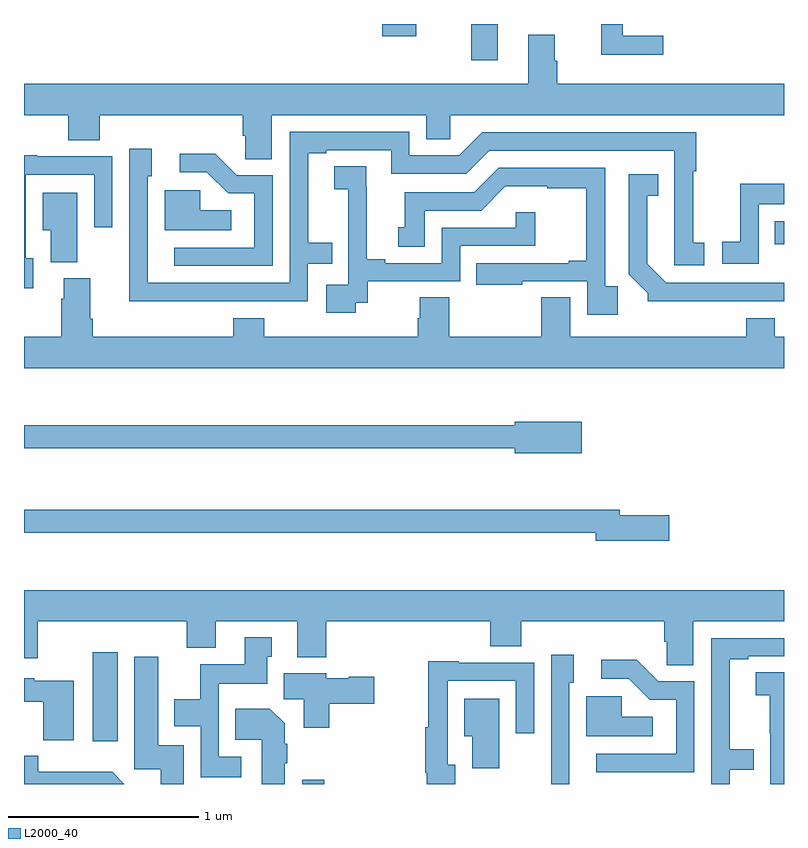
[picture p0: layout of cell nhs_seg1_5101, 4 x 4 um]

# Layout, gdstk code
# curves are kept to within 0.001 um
import gdstk
lib = gdstk.Library(unit=1e-6, precision=1e-09)
def R(c, l, rs):  # rectangles x0, y0, x1, y1
    for r in rs: c.add(gdstk.rectangle(r[:2], r[2:], *l))
def P(c, l, *ps):  # polygons
    for p in ps: c.add(gdstk.Polygon(p, *l))
L2000_40 = (2000, 40)

nhs_seg1_5101 = lib.new_cell('nhs_seg1_5101')
R(nhs_seg1_5101, L2000_40, [(388.464,560.199,388.58,560.221), (387.362,560.424,387.493,560.893), (390.952,563.039,391,563.161), (389.353,564.009,389.494,564.199), (388.886,564.135,389.064,564.199)])
P(nhs_seg1_5101, L2000_40, [(390.364,564.136),(390.151,564.136),(390.151,564.199),(390.039,564.199),(390.039,564.038),(390.364,564.038)],
  [(388.303,563.72),(389.117,563.72),(389.117,563.593),(389.244,563.593),(389.244,563.72),(391,563.72),(391,563.884),(389.807,563.884),(389.807,564.005),(389.794,564.005),(389.794,564.142),(389.654,564.142),(389.654,563.884),(387,563.884),(387,563.72),(387.233,563.72),(387.233,563.587),(387.398,563.587),(387.398,563.72),(388.151,563.72),(388.151,563.611),(388.164,563.611),(388.164,563.488),(388.303,563.488)],
  [(388.016,562.74),(388.494,562.74),(388.494,562.938),(388.622,562.938),(388.622,563.047),(388.495,563.047),(388.495,563.52),(388.591,563.52),(388.591,563.535),(388.932,563.535),(388.932,563.412),(389.328,563.412),(389.448,563.532),(390.423,563.532),(390.422,562.929),(390.58,562.929),(390.58,563.049),(390.522,563.049),(390.522,563.425),(390.539,563.425),(390.539,563.628),(389.412,563.628),(389.292,563.508),(389.028,563.508),(389.028,563.631),(388.398,563.631),(388.398,562.836),(387.651,562.836),(387.651,563.397),(387.673,563.397),(387.673,563.542),(387.555,563.542),(387.554,562.739)],
  [(388.308,563.403),(388.119,563.403),(388.006,563.516),(387.819,563.516),(387.819,563.418),(387.963,563.418),(388.074,563.307),(388.212,563.307),(388.212,563.022),(387.792,563.022),(387.792,562.926),(388.308,562.926)],
  [(387.049,562.965),(387.009,562.965),(387.009,563.406),(387.369,563.406),(387.369,563.13),(387.465,563.13),(387.465,563.502),(387.069,563.502),(387.069,563.509),(387,563.509),(387,562.809),(387.049,562.809)],
  [(388.746,562.731),(388.808,562.731),(388.808,562.845),(389.295,562.845),(389.295,563.031),(389.69,563.031),(389.69,563.209),(389.589,563.209),(389.589,563.127),(389.199,563.127),(389.199,562.941),(388.9,562.941),(388.9,562.961),(388.804,562.961),(388.804,563.339),(388.802,563.339),(388.802,563.45),(388.632,563.45),(388.632,563.329),(388.706,563.329),(388.706,563.131),(388.707,563.131),(388.707,562.827),(388.59,562.827),(388.59,562.68),(388.746,562.68)],
  [(390.125,562.819),(390.06,562.819),(390.06,563.442),(389.499,563.442),(389.37,563.313),(389.003,563.313),(389.003,563.13),(388.97,563.13),(388.97,563.026),(389.11,563.026),(389.11,563.217),(389.406,563.217),(389.534,563.345),(389.753,563.345),(389.753,563.334),(389.959,563.334),(389.959,562.954),(389.867,562.954),(389.867,562.941),(389.38,562.941),(389.38,562.826),(389.623,562.826),(389.623,562.845),(389.964,562.845),(389.964,562.668),(390.125,562.668)],
  [(390.716,562.74),(391,562.74),(391,562.836),(390.381,562.836),(390.28,562.937),(390.28,563.294),(390.338,563.294),(390.338,563.407),(390.183,563.407),(390.183,562.882),(390.282,562.783),(390.282,562.739)],
  [(390.867,563.25),(391,563.25),(391,563.359),(390.769,563.359),(390.769,563.054),(390.675,563.054),(390.675,562.938),(390.867,562.938)],
  [(388.09,563.218),(387.927,563.218),(387.927,563.325),(387.74,563.325),(387.74,563.114),(388.09,563.114)],
  [(387.28,563.311),(387.098,563.311),(387.098,563.114),(387.14,563.114),(387.14,562.945),(387.28,562.945)],
  [(391,562.552),(390.952,562.552),(390.952,562.651),(390.8,562.651),(390.8,562.552),(389.875,562.552),(389.875,562.76),(389.723,562.76),(389.723,562.552),(389.237,562.552),(389.237,562.76),(389.084,562.76),(389.084,562.65),(389.072,562.65),(389.072,562.552),(388.265,562.552),(388.265,562.651),(388.1,562.651),(388.1,562.552),(387.362,562.552),(387.362,562.648),(387.349,562.648),(387.349,562.86),(387.209,562.86),(387.209,562.754),(387.197,562.754),(387.197,562.552),(387,562.552),(387,562.388),(391,562.388)],
  [(389.935,562.105),(389.582,562.105),(389.582,562.087),(387,562.087),(387,561.966),(389.582,561.966),(389.582,561.94),(389.935,561.94)],
  [(390.397,561.614),(390.136,561.614),(390.136,561.643),(387,561.643),(387,561.522),(390.008,561.522),(390.008,561.479),(390.397,561.479)],
  [(390.523,561.056),(391,561.056),(391,561.22),(387,561.22),(387,560.862),(387.073,560.862),(387.073,561.056),(387.857,561.056),(387.857,560.915),(388.009,560.915),(388.009,561.056),(388.439,561.056),(388.439,560.867),(388.592,560.867),(388.592,561.056),(389.453,561.056),(389.453,560.923),(389.618,560.923),(389.618,561.056),(390.371,561.056),(390.371,560.947),(390.384,560.947),(390.384,560.824),(390.523,560.824)],
  [(388.144,560.343),(388.026,560.343),(388.026,560.726),(388.279,560.726),(388.279,560.868),(388.303,560.868),(388.303,560.971),(388.163,560.971),(388.163,560.83),(387.928,560.83),(387.928,560.644),(387.791,560.644),(387.791,560.504),(387.93,560.504),(387.93,560.235),(388.144,560.235)],
  [(390.714,560.274),(390.842,560.274),(390.842,560.383),(390.715,560.383),(390.715,560.856),(390.811,560.856),(390.811,560.871),(391,560.871),(391,560.967),(390.618,560.967),(390.618,560.199),(390.714,560.199)],
  [(389.871,560.733),(389.893,560.733),(389.893,560.878),(389.775,560.878),(389.775,560.378),(389.774,560.378),(389.774,560.199),(389.871,560.199)],
  [(387.841,560.404),(387.706,560.404),(387.706,560.869),(387.581,560.869),(387.581,560.277),(387.719,560.277),(387.719,560.199),(387.841,560.199)],
  [(390.528,560.739),(390.339,560.739),(390.226,560.852),(390.039,560.852),(390.039,560.754),(390.183,560.754),(390.294,560.643),(390.432,560.643),(390.432,560.358),(390.012,560.358),(390.012,560.262),(390.528,560.262)],
  [(389.269,560.301),(389.229,560.301),(389.229,560.742),(389.589,560.742),(389.589,560.466),(389.685,560.466),(389.685,560.838),(389.289,560.838),(389.289,560.845),(389.128,560.845),(389.128,560.499),(389.113,560.499),(389.113,560.257),(389.121,560.257),(389.121,560.199),(389.269,560.199)],
  [(391,560.786),(390.852,560.786),(390.852,560.665),(390.926,560.665),(390.926,560.467),(390.927,560.467),(390.927,560.199),(391,560.199)],
  [(388.607,560.621),(388.843,560.621),(388.843,560.763),(388.71,560.763),(388.71,560.755),(388.59,560.755),(388.59,560.782),(388.367,560.782),(388.367,560.644),(388.472,560.644),(388.472,560.496),(388.607,560.496)],
  [(387.262,560.743),(387.054,560.743),(387.054,560.755),(387,560.755),(387,560.633),(387.1,560.633),(387.1,560.429),(387.262,560.429)],
  [(390.31,560.554),(390.147,560.554),(390.147,560.661),(389.96,560.661),(389.96,560.45),(390.31,560.45)],
  [(389.5,560.647),(389.318,560.647),(389.318,560.45),(389.36,560.45),(389.36,560.281),(389.5,560.281)],
  [(388.372,560.308),(388.385,560.308),(388.385,560.411),(388.372,560.411),(388.372,560.518),(388.294,560.596),(388.111,560.596),(388.111,560.432),(388.25,560.432),(388.25,560.199),(388.372,560.199)],
  [(387.465,560.263),(387.076,560.263),(387.076,560.347),(387,560.347),(387,560.199),(387.528,560.199)])

lib.write_gds('nhs_seg1_5101.gds')
